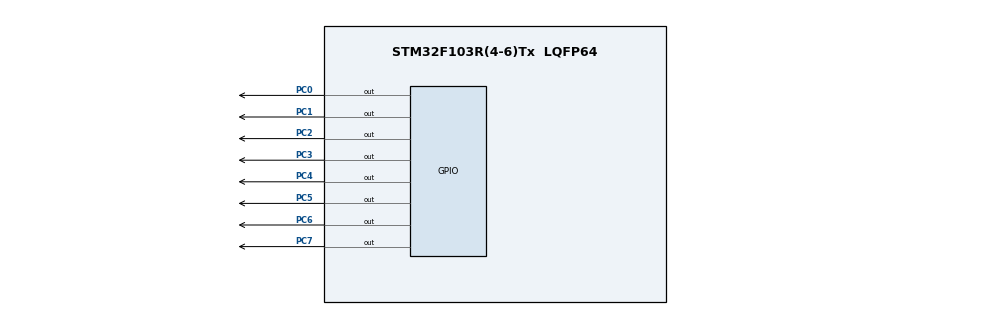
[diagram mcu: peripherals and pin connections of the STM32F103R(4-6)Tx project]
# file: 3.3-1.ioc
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Mcu.Family=STM32F1
Mcu.Name=STM32F103R(4-6)Tx
Mcu.Package=LQFP64
NVIC.PriorityGroup=NVIC_PRIORITYGROUP_4
PC0.GPIO_ModeDefaultOutputPP=GPIO_MODE_OUTPUT_PP
PC0.GPIO_PuPd=GPIO_NOPULL
PC0.PinState=GPIO_PIN_SET
PC0.Signal=GPIO_Output
PC1.GPIO_ModeDefaultOutputPP=GPIO_MODE_OUTPUT_OD
PC1.GPIO_PuPd=GPIO_NOPULL
PC1.PinState=GPIO_PIN_SET
PC1.Signal=GPIO_Output
PC2.GPIO_PuPd=GPIO_NOPULL
PC2.PinState=GPIO_PIN_SET
PC2.Signal=GPIO_Output
PC3.GPIO_PuPd=GPIO_NOPULL
PC3.PinState=GPIO_PIN_SET
PC3.Signal=GPIO_Output
PC4.GPIO_PuPd=GPIO_NOPULL
PC4.PinState=GPIO_PIN_SET
PC4.Signal=GPIO_Output
PC5.GPIO_PuPd=GPIO_NOPULL
PC5.PinState=GPIO_PIN_SET
PC5.Signal=GPIO_Output
PC6.GPIO_PuPd=GPIO_NOPULL
PC6.PinState=GPIO_PIN_SET
PC6.Signal=GPIO_Output
PC7.GPIO_PuPd=GPIO_NOPULL
PC7.PinState=GPIO_PIN_SET
PC7.Signal=GPIO_Output
ProjectManager.HeapSize=0x200
ProjectManager.StackSize=0x400
ProjectManager.TargetToolchain=STM32CubeIDE
RCC.APB1Freq_Value=8000000
RCC.APB2Freq_Value=8000000
VP_SYS_VS_ND.Mode=No_Debug
board=custom

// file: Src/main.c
/* USER CODE BEGIN Header */
/**
  ******************************************************************************
  * @file           : main.c
  * @brief          : Main program body
  ******************************************************************************
  * @attention
  *
  * <h2><center>&copy; Copyright (c) 2019 STMicroelectronics.
  * All rights reserved.</center></h2>
  *
  * This software component is licensed by ST under BSD 3-Clause license,
  * the "License"; You may not use this file except in compliance with the
  * License. You may obtain a copy of the License at:
  *                        opensource.org/licenses/BSD-3-Clause
  *
  ******************************************************************************
  */
/* USER CODE END Header */

#include "main.h"

void SystemClock_Config(void);
static void MX_GPIO_Init(void);

int main(void)
{

  /* MCU Configuration--------------------------------------------------------*/

  /* Reset of all peripherals, Initializes the Flash interface and the Systick. */
  HAL_Init();

  /* Configure the system clock */
  SystemClock_Config();

  /* Initialize all configured peripherals */
  MX_GPIO_Init();

  /* Infinite loop */
  /* USER CODE BEGIN WHILE */
  while (1)
  {
	  //LED0亮
	  HAL_GPIO_WritePin(GPIOC,GPIO_PIN_7,1);
	  HAL_GPIO_WritePin(GPIOC,GPIO_PIN_0,0);
	  HAL_Delay(500);
	  //LED1亮
	  HAL_GPIO_WritePin(GPIOC,GPIO_PIN_0,1);
	  HAL_GPIO_WritePin(GPIOC,GPIO_PIN_1,0);
	  HAL_Delay(500);
	  //LED2亮
	  HAL_GPIO_WritePin(GPIOC,GPIO_PIN_1,1);
	  HAL_GPIO_WritePin(GPIOC,GPIO_PIN_2,0);
	  HAL_Delay(500);
	  //LED3亮
	  HAL_GPIO_WritePin(GPIOC,GPIO_PIN_2,1);
	  HAL_GPIO_WritePin(GPIOC,GPIO_PIN_3,0);
	  HAL_Delay(500);
	  //LED4亮
	  HAL_GPIO_WritePin(GPIOC,GPIO_PIN_3,1);
	  HAL_GPIO_WritePin(GPIOC,GPIO_PIN_4,0);
	  HAL_Delay(500);
	  //LED5亮
	  HAL_GPIO_WritePin(GPIOC,GPIO_PIN_4,1);
	  HAL_GPIO_WritePin(GPIOC,GPIO_PIN_5,0);
	  HAL_Delay(500);
	  //LED6亮
	  HAL_GPIO_WritePin(GPIOC,GPIO_PIN_5,1);
	  HAL_GPIO_WritePin(GPIOC,GPIO_PIN_6,0);
	  HAL_Delay(500);
	  //LED7亮
	  HAL_GPIO_WritePin(GPIOC,GPIO_PIN_6,1);
	  HAL_GPIO_WritePin(GPIOC,GPIO_PIN_7,0);
	  HAL_Delay(500);
    /* USER CODE END WHILE */

  }
}

void SystemClock_Config(void)
{
  RCC_OscInitTypeDef RCC_OscInitStruct = {0};
  RCC_ClkInitTypeDef RCC_ClkInitStruct = {0};

  /** Initializes the CPU, AHB and APB busses clocks
  */
  RCC_OscInitStruct.OscillatorType = RCC_OSCILLATORTYPE_HSI;
  RCC_OscInitStruct.HSIState = RCC_HSI_ON;
  RCC_OscInitStruct.HSICalibrationValue = RCC_HSICALIBRATION_DEFAULT;
  RCC_OscInitStruct.PLL.PLLState = RCC_PLL_NONE;
  if (HAL_RCC_OscConfig(&RCC_OscInitStruct) != HAL_OK)
  {
    Error_Handler();
  }
  /** Initializes the CPU, AHB and APB busses clocks
  */
  RCC_ClkInitStruct.ClockType = RCC_CLOCKTYPE_HCLK|RCC_CLOCKTYPE_SYSCLK
                              |RCC_CLOCKTYPE_PCLK1|RCC_CLOCKTYPE_PCLK2;
  RCC_ClkInitStruct.SYSCLKSource = RCC_SYSCLKSOURCE_HSI;
  RCC_ClkInitStruct.AHBCLKDivider = RCC_SYSCLK_DIV1;
  RCC_ClkInitStruct.APB1CLKDivider = RCC_HCLK_DIV1;
  RCC_ClkInitStruct.APB2CLKDivider = RCC_HCLK_DIV1;

  if (HAL_RCC_ClockConfig(&RCC_ClkInitStruct, FLASH_LATENCY_0) != HAL_OK)
  {
    Error_Handler();
  }
}

static void MX_GPIO_Init(void)
{
  GPIO_InitTypeDef GPIO_InitStruct = {0};

  /* GPIO Ports Clock Enable */
  __HAL_RCC_GPIOC_CLK_ENABLE();

  /*Configure GPIO pin Output Level */
  HAL_GPIO_WritePin(GPIOC, GPIO_PIN_0|GPIO_PIN_1|GPIO_PIN_2|GPIO_PIN_3
                          |GPIO_PIN_4|GPIO_PIN_5|GPIO_PIN_6|GPIO_PIN_7, GPIO_PIN_SET);

  /*Configure GPIO pins : PC0 PC2 PC3 PC4
                           PC5 PC6 PC7 */
  GPIO_InitStruct.Pin = GPIO_PIN_0|GPIO_PIN_2|GPIO_PIN_3|GPIO_PIN_4
                          |GPIO_PIN_5|GPIO_PIN_6|GPIO_PIN_7;
  GPIO_InitStruct.Mode = GPIO_MODE_OUTPUT_PP;
  GPIO_InitStruct.Pull = GPIO_NOPULL;
  GPIO_InitStruct.Speed = GPIO_SPEED_FREQ_LOW;
  HAL_GPIO_Init(GPIOC, &GPIO_InitStruct);

  /*Configure GPIO pin : PC1 */
  GPIO_InitStruct.Pin = GPIO_PIN_1;
  GPIO_InitStruct.Mode = GPIO_MODE_OUTPUT_OD;
  GPIO_InitStruct.Pull = GPIO_NOPULL;
  GPIO_InitStruct.Speed = GPIO_SPEED_FREQ_LOW;
  HAL_GPIO_Init(GPIOC, &GPIO_InitStruct);

}

void Error_Handler(void)
{
}

/************************ (C) COPYRIGHT STMicroelectronics *****END OF FILE****/
